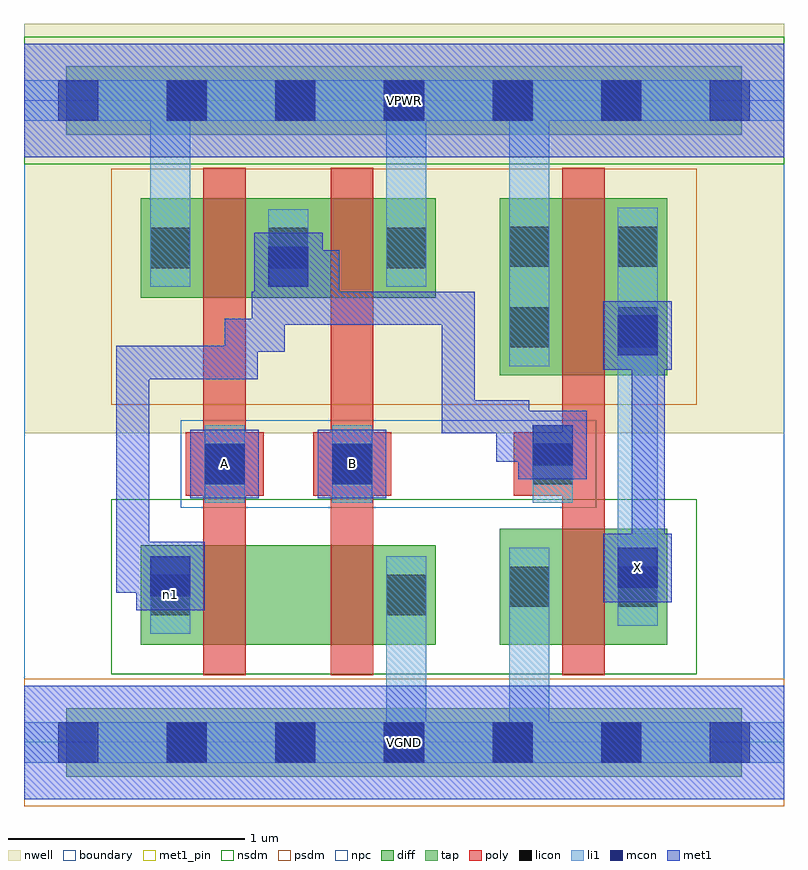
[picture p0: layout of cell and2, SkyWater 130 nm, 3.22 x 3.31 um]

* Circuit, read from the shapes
.subckt and2 A B VGND VPWR X n1
XM1 n2 A n1 VGND sky130_fd_pr__nfet_01v8 w=0.42 l=0.18
XM2 VGND B n2 VGND sky130_fd_pr__nfet_01v8 w=0.42 l=0.18
XM3 X n1 VGND VGND sky130_fd_pr__nfet_01v8 w=0.49 l=0.18
XM4 n1 A VPWR VPWR sky130_fd_pr__pfet_01v8 w=0.42 l=0.18
XM5 VPWR B n1 VPWR sky130_fd_pr__pfet_01v8 w=0.42 l=0.18
XM6 X n1 VPWR VPWR sky130_fd_pr__pfet_01v8 w=0.75 l=0.18
.ends

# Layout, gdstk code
import gdstk
lib = gdstk.Library(unit=1e-6, precision=1e-09)
def R(c, l, rs):  # rectangles x0, y0, x1, y1
    for r in rs: c.add(gdstk.rectangle(r[:2], r[2:], *l))
def A(c, l, x, y, w, h, nx, ny, dx, dy):  # array of equal rectangles
    R(c, l, [(x+i*dx, y+j*dy, x+i*dx+w, y+j*dy+h) for i in range(nx) for j in range(ny)])
nwell = (64, 20)
diff = (65, 20)
tap = (65, 44)
poly = (66, 20)
licon = (66, 44)
li1 = (67, 20)
mcon = (67, 44)
met1_pin = (68, 16)
met1 = (68, 20)
nsdm = (93, 44)
psdm = (94, 20)
npc = (95, 20)
boundary = (235, 4)

and2 = lib.new_cell('and2')
R(and2, nwell, [(0,1.31,3.22,3.045)])
R(and2, diff, [(0.495,0.415,1.745,0.835), (2.015,0.415,2.725,0.905), (2.015,1.555,2.725,2.305), (0.495,1.885,1.745,2.305)])
R(and2, tap, [(0.18,-0.145,3.04,0.145), (0.18,2.575,3.04,2.865)])
R(and2, poly, [(0.76,0.285,0.94,2.435), (1.3,0.285,1.48,2.435), (2.28,0.285,2.46,2.435), (0.685,1.045,1.015,1.315), (1.225,1.045,1.555,1.315), (2.075,1.045,2.405,1.315)])
A(and2, licon, 0.605, -0.085, 0.17, 0.17, 5, 2, 0.46, 2.72)
A(and2, licon, 0.535, 2.01, 0.17, 0.17, 3, 1, 0.5, 0)
R(and2, licon, [(0.535,0.54,0.705,0.71), (1.535,0.54,1.705,0.71), (2.055,0.575,2.225,0.745), (2.515,0.575,2.685,0.745), (0.765,1.095,0.935,1.265), (1.305,1.095,1.475,1.265), (2.155,1.095,2.325,1.265), (2.055,1.675,2.225,1.845), (2.515,1.675,2.685,1.845), (2.055,2.015,2.225,2.185), (2.515,2.015,2.685,2.185)])
A(and2, li1, 0.535, 1.93, 0.17, 0.33, 3, 1, 0.5, 0)
R(and2, li1, [(0,-0.085,3.22,0.085), (1.535,-0.085,1.705,0.79), (2.055,-0.085,2.225,0.825), (0.535,0.46,0.705,0.79), (1.535,0.46,1.705,0.79), (2.055,0.495,2.225,0.825), (2.515,0.495,2.685,0.825), (2.515,0.495,2.685,2.265), (0.765,1.015,0.935,1.345), (1.305,1.015,1.475,1.345), (2.155,1.015,2.325,1.345), (2.055,1.595,2.225,2.265), (2.055,1.595,2.225,2.805), (2.515,1.595,2.685,2.265), (0.535,1.93,0.705,2.805), (1.535,1.93,1.705,2.805), (0,2.635,3.22,2.805)])
A(and2, mcon, 0.145, -0.085, 0.17, 0.17, 7, 2, 0.46, 2.72)
R(and2, mcon, [(0.535,0.62,0.705,0.79), (2.515,0.655,2.685,0.825), (0.765,1.095,0.935,1.265), (1.305,1.095,1.475,1.265), (2.155,1.175,2.325,1.345), (2.515,1.64,2.685,1.81), (1.035,1.93,1.205,2.1)])
R(and2, met1_pin, [(0,-0.24,3.22,0.24), (2.455,0.595,2.745,0.885), (0.705,1.035,0.995,1.325), (1.245,1.035,1.535,1.325), (0,2.48,3.22,2.96)])
R(and2, met1, [(0,-0.24,3.22,0.24), (0.475,0.56,0.765,0.85), (2.455,0.595,2.745,0.885), (0.39,0.635,0.69,0.775), (0.39,0.635,0.53,0.875), (2.53,0.67,2.715,0.81), (2.575,0.67,2.715,0.99), (0.39,0.735,0.53,1.68), (2.575,0.85,2.715,1.795), (0.705,1.035,0.995,1.325), (1.245,1.035,1.535,1.325), (2.095,1.115,2.385,1.405), (2,1.19,2.31,1.33), (2,1.19,2.14,1.45), (1.77,1.31,2.14,1.45), (1.77,1.31,1.91,1.91), (0.39,1.54,0.99,1.68), (0.85,1.54,0.99,1.795), (2.455,1.58,2.745,1.87), (0.85,1.655,1.105,1.795), (0.965,1.655,1.105,1.91), (2.53,1.655,2.715,1.795), (0.965,1.77,1.335,1.91), (1.195,1.77,1.335,2.085), (1.195,1.77,1.91,1.91), (0.975,1.87,1.265,2.16), (1.05,1.91,1.335,1.945), (1.05,1.945,1.335,2.085), (0,2.48,3.22,2.96)])
R(and2, nsdm, [(0.37,0.29,2.85,1.03), (0,2.45,3.22,2.99)])
R(and2, psdm, [(0,-0.27,3.22,0.27), (0.37,1.43,2.85,2.43)])
R(and2, npc, [(0.665,0.995,2.425,1.365)])
R(and2, boundary, [(0,0,3.22,2.72)])
and2.add(gdstk.Label('n1', (0.62,0.625), layer=67, texttype=5))
and2.add(gdstk.Label('A', (0.85,1.18), layer=68, texttype=5))
and2.add(gdstk.Label('B', (1.39,1.18), layer=68, texttype=5))
and2.add(gdstk.Label('X', (2.6,0.74), layer=68, texttype=5))
and2.add(gdstk.Label('VPWR', (1.61,2.72), layer=68, texttype=5))
and2.add(gdstk.Label('VGND', (1.61,0), layer=68, texttype=5))
and2.add(gdstk.Label('A', (0.85,1.18), layer=68, texttype=16))
and2.add(gdstk.Label('B', (1.39,1.18), layer=68, texttype=16))
and2.add(gdstk.Label('X', (2.6,0.74), layer=68, texttype=16))
and2.add(gdstk.Label('VPWR', (1.61,2.72), layer=68, texttype=16))
and2.add(gdstk.Label('VGND', (1.61,0), layer=68, texttype=16))

lib.write_gds('and2.gds')
